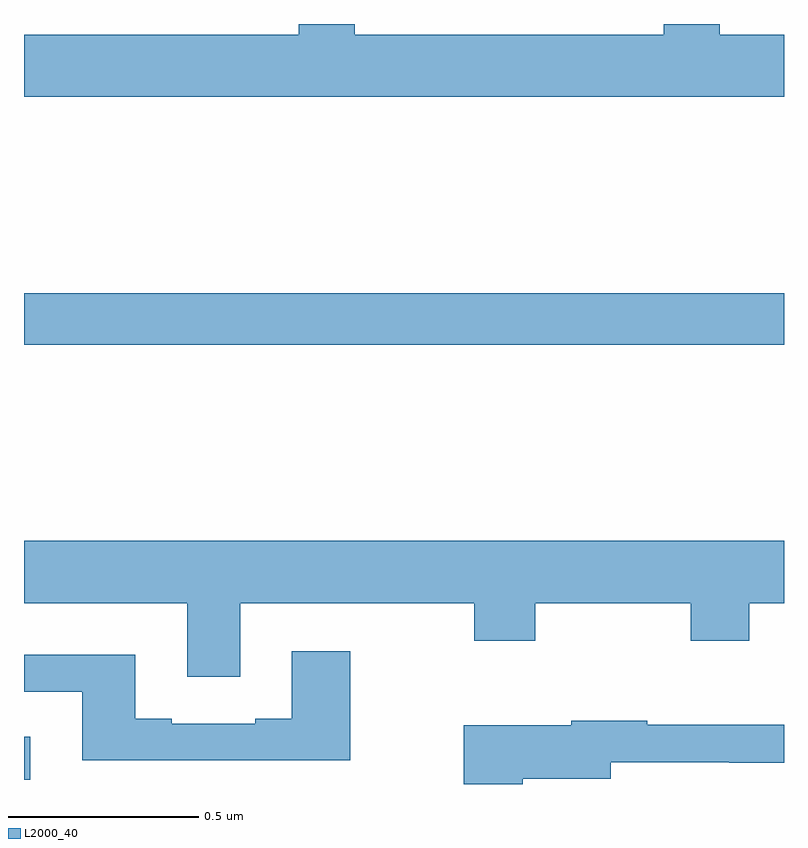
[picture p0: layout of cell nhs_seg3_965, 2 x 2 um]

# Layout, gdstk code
import gdstk
lib = gdstk.Library(unit=1e-6, precision=1e-09)
def R(c, l, rs):  # rectangles x0, y0, x1, y1
    for r in rs: c.add(gdstk.rectangle(r[:2], r[2:], *l))
def P(c, l, *ps):  # polygons
    for p in ps: c.add(gdstk.Polygon(p, *l))
L2000_40 = (2000, 40)

nhs_seg3_965 = lib.new_cell('nhs_seg3_965')
R(nhs_seg3_965, L2000_40, [(122,740.411,122.017,740.524), (122,741.556,124,741.692)])
P(nhs_seg3_965, L2000_40, [(124,742.372),(123.831,742.372),(123.831,742.4),(123.684,742.4),(123.684,742.372),(122.871,742.372),(122.871,742.4),(122.723,742.4),(122.723,742.372),(122,742.372),(122,742.208),(124,742.208)],
  [(122.569,740.876),(123.185,740.876),(123.185,740.777),(123.345,740.777),(123.345,740.876),(123.754,740.876),(123.754,740.777),(123.909,740.777),(123.909,740.876),(124,740.876),(124,741.04),(122,741.04),(122,740.876),(122.429,740.876),(122.429,740.682),(122.569,740.682)],
  [(122.858,740.749),(122.705,740.749),(122.705,740.572),(122.609,740.572),(122.609,740.559),(122.389,740.559),(122.389,740.572),(122.293,740.572),(122.293,740.74),(122,740.74),(122,740.643),(122.153,740.643),(122.153,740.462),(122.858,740.462)],
  [(123.312,740.414),(123.544,740.414),(123.544,740.457),(123.856,740.457),(123.856,740.456),(124,740.456),(124,740.556),(123.64,740.556),(123.64,740.566),(123.44,740.566),(123.44,740.554),(123.157,740.554),(123.157,740.4),(123.312,740.4)])

lib.write_gds('nhs_seg3_965.gds')
